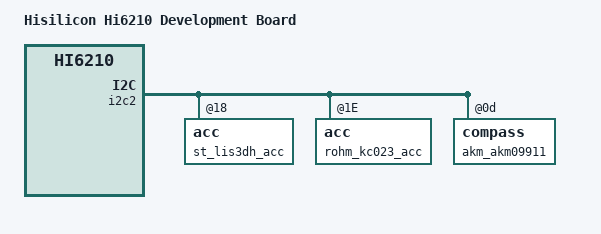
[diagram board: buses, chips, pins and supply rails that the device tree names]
/*
 *  Copyright (C) 2014 Hisilicon Ltd.
 *  Author: Bintian Wang <bintian.wang@huawei.com>
 *
 *  This program is free software; you can redistribute it and/or modify
 *  it under the terms of the GNU General Public License version 2 as
 *  publishhed by the Free Software Foundation.
 */

/include/ "SHINE_UL10_VA_config.dtsi"
/include/ "SHINE_TL10_VA_pin.dtsi"
/include/ "SHINE_TL10_VA_gpio_logic.dtsi"
/include/ "SHINE_TL10_VA_pmic.dtsi"
/include/ "SHINE_TL10_VA_charger.dtsi"
/ {
    model = "Hisilicon Hi6210 Development Board";
    compatible = "hisilicon,hi6210";
    hisi,boardid = <0 7 0 5>;
    hisi,boardname = "SHINE_TL10_VA";
    hisi,modem_id = <0x3DD51D00>;
    hisi,product_name = "SHINE_TL10";

    boardinfo{
        factory_product_name = "HL01SHINE";
        normal_product_name = "Shine-TL10";
    };
	amba {
	i2c2: i2c@f7102000 {
			st_lis3dh_acc:acc@18{
				axis_map_x=<0>;
				axis_map_y=<1>;
				axis_map_z=<2>;
				negate_x=<1>;
				negate_y=<1>;
				negate_z=<0>;
				status = "ok";
			};
			rohm_kc023_acc:acc@1E{
				axis_map_x=<0>;
				axis_map_y=<1>;
				axis_map_z=<2>;
				negate_x=<1>;
				negate_y=<1>;
				negate_z=<0>;
				status = "ok";
			};
			akm_akm09911:compass@0d{
				compass_layout=<4>;
				status = "ok";
            };
		};
	};
};
